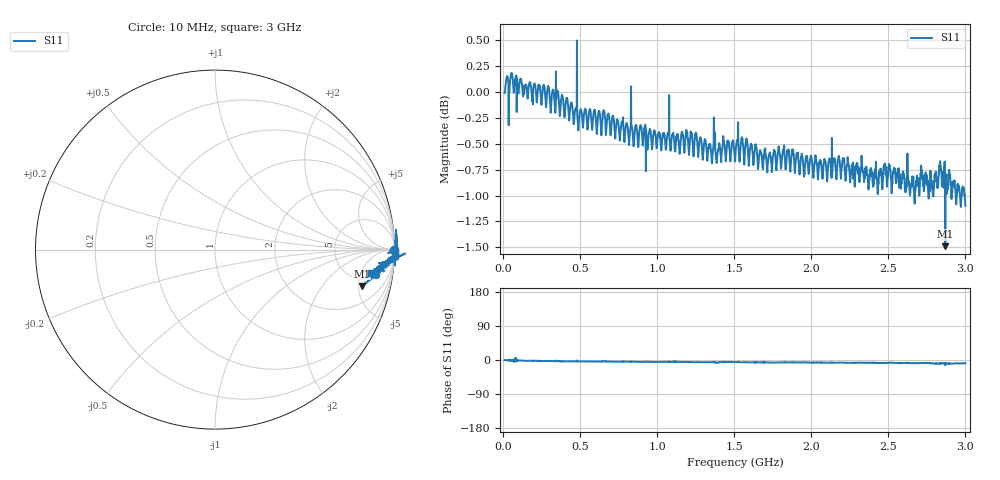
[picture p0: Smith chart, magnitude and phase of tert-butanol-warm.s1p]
# HZ S RI R 50
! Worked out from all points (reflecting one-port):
!   2020 points, 10 MHz to 3 GHz, reference 50 ohm
!   lowest |S11| = -1.5 dB at 2.87 GHz (marker M1), VSWR 11.70, Z = 195 - j273 ohm
!   phase of S11 starts at -0 deg and turns -8 deg over the sweep
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1e7  0.9987 -0.00182
5.887072e7  1.02 -0.0381
6.627538e7  1.007 -0.0539
8.848934e7  0.9759 -0.0634
9.737493e7  1.002 -0.0175
3.846755e8  0.994 -0.0608
7.578702e8  0.9447 -0.0699
8.985586e8  0.9566 -0.0822
1.132546e9  0.9506 -0.0824
1.246577e9  0.9489 -0.0978
1.360609e9  0.9302 -0.0987
1.391709e9  0.9263 -0.111
1.416884e9  0.9267 -0.0941
1.50574e9  0.9215 -0.0899
1.754537e9  0.9273 -0.1128
1.878935e9  0.9324 -0.105
2.25361e9  0.899 -0.1159
2.31729e9  0.9043 -0.112
2.455017e9  0.9061 -0.1202
2.512773e9  0.9095 -0.1197
2.557201e9  0.9013 -0.1252
2.626805e9  0.9015 -0.1292
2.743799e9  0.898 -0.1285
2.816364e9  0.8915 -0.1448
2.844502e9  0.9046 -0.1314
2.869678e9  0.8176 -0.2032
2.902258e9  0.8939 -0.1469
3e9  0.8714 -0.1304
